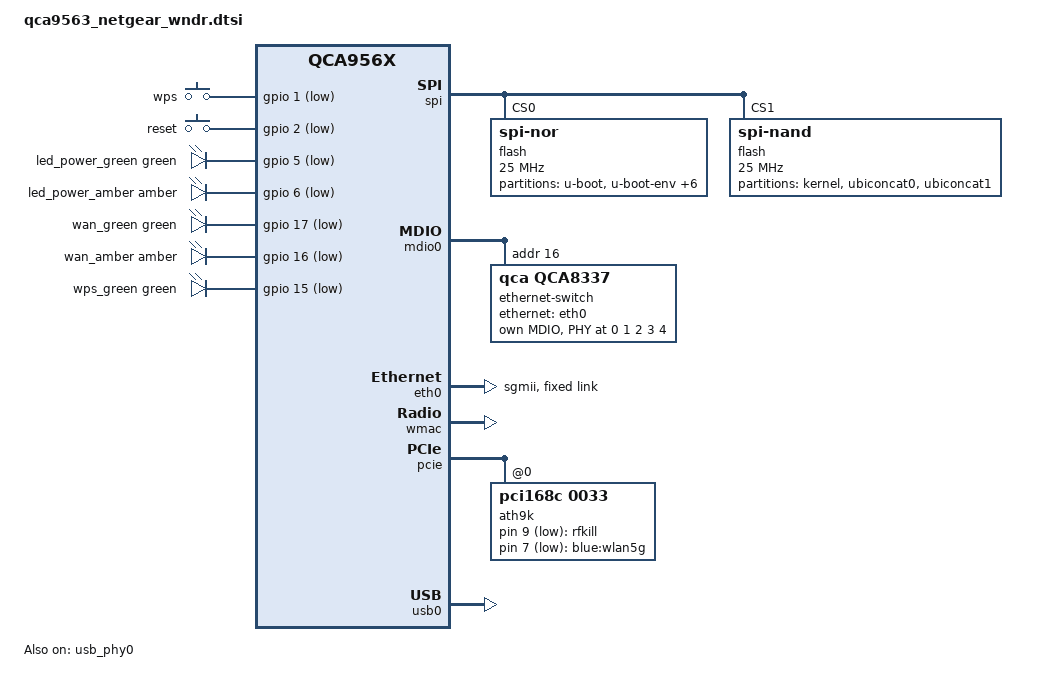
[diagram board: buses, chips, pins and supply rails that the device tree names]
// SPDX-License-Identifier: GPL-2.0-or-later OR MIT

#include "qca956x.dtsi"
#include "qca956x_ag71xx.dtsi"

#include <dt-bindings/gpio/gpio.h>
#include <dt-bindings/input/input.h>
#include <dt-bindings/leds/common.h>

/ {
	aliases {
		led-boot = &led_power_amber;
		led-failsafe = &led_power_amber;
		led-running = &led_power_green;
		led-upgrade = &led_power_amber;
		label-mac-device = &eth0;
	};

	keys {
		compatible = "gpio-keys";

		wps {
			label = "wps";
			linux,code = <KEY_WPS_BUTTON>;
			gpios = <&gpio 1 GPIO_ACTIVE_LOW>;
		};

		reset {
			label = "reset";
			linux,code = <KEY_RESTART>;
			gpios = <&gpio 2 GPIO_ACTIVE_LOW>;
		};
	};

	ath9k-keys {
		compatible = "gpio-keys-polled";
		poll-interval = <20>;

		rfkill {
			label = "rfkill";
			linux,code = <KEY_RFKILL>;
			gpios = <&ath9k 9 GPIO_ACTIVE_LOW>;
			debounce-interval = <60>;
		};
	};

	leds: leds {
		compatible = "gpio-leds";

		pinctrl-names = "default";
		pinctrl-0 = <&jtag_disable_pins>;

		led_power_green: power_green {
			function = LED_FUNCTION_POWER;
			color = <LED_COLOR_ID_GREEN>;
			gpios = <&gpio 5 GPIO_ACTIVE_LOW>;
		};

		led_power_amber: power_amber {
			function = LED_FUNCTION_POWER;
			color = <LED_COLOR_ID_AMBER>;
			gpios = <&gpio 6 GPIO_ACTIVE_LOW>;
			default-state = "keep";
		};

		wan_green {
			function = LED_FUNCTION_WAN;
			color = <LED_COLOR_ID_GREEN>;
			gpios = <&gpio 17 GPIO_ACTIVE_LOW>;
		};

		wan_amber {
			function = LED_FUNCTION_WAN;
			color = <LED_COLOR_ID_AMBER>;
			gpios = <&gpio 16 GPIO_ACTIVE_LOW>;
		};

		wps_green {
			function = LED_FUNCTION_WPS;
			color = <LED_COLOR_ID_GREEN>;
			gpios = <&gpio 15 GPIO_ACTIVE_LOW>;
		};
	};

	ath9k-leds {
		compatible = "gpio-leds";

		wlan5g_blue {
			label = "blue:wlan5g";
			gpios = <&ath9k 7 GPIO_ACTIVE_LOW>;
			linux,default-trigger = "phy1tpt";
		};
	};

	ubi-concat {
		compatible = "mtd-concat";
		devices = <&ubiconcat0 &ubiconcat1>;

		partitions {
			compatible = "fixed-partitions";
			#address-cells = <1>;
			#size-cells = <1>;

			partition@0 {
				label = "ubi";
				reg = <0x0 0x0>;
			};
		};
	};
};

&spi {
	status = "okay";

	flash@0 {
		compatible = "jedec,spi-nor";
		reg = <0>;
		spi-max-frequency = <25000000>;

		partitions {
			compatible = "fixed-partitions";
			#address-cells = <1>;
			#size-cells = <1>;

			partition@0 {
				label = "u-boot";
				reg = <0x0 0x40000>;
				read-only;
			};

			partition@40000 {
				label = "u-boot-env";
				reg = <0x40000 0x10000>;
			};

			partition@50000 {
				label = "caldata_backup";
				reg = <0x50000 0x10000>;
				read-only;
			};

			partition@60000 {
				label = "config";
				reg = <0x60000 0x10000>;
			};

			partition@70000 {
				label = "traffic_meter";
				reg = <0x70000 0x10000>;
			};

			partition@80000 {
				label = "pot";
				reg = <0x80000 0x10000>;
			};

			partition@90000 {
				label = "reserved";
				reg = <0x90000 0x160000>;
			};

			caldata: partition@1f0000 {
				label = "caldata";
				reg = <0x1f0000 0x10000>;
				read-only;

				nvmem-layout {
					compatible = "fixed-layout";
					#address-cells = <1>;
					#size-cells = <1>;

					macaddr_caldata_0: macaddr@0 {
						reg = <0x0 0x6>;
					};

					macaddr_caldata_c: macaddr@c {
						reg = <0xc 0x6>;
					};

					cal_art_1000: cal@1000 {
						reg = <0x1000 0x440>;
					};

					cal_art_5000: cal@5000 {
						reg = <0x5000 0x440>;
					};
				};
			};
		};
	};

	flash@1 {
		compatible = "spi-nand";
		reg = <1>;
		spi-max-frequency = <25000000>;

		partitions {
			compatible = "fixed-partitions";
			#address-cells = <1>;
			#size-cells = <1>;

			partition@0 {
				label = "kernel";
				reg = <0x0 0x400000>;
			};

			ubiconcat0: partition@400000 {
				label = "ubiconcat0";
				reg = <0x400000 0x5c00000>;
			};

			ubiconcat1: partition@6020000 {
				label = "ubiconcat1";
				reg = <0x6020000 0x1f60000>;
			};
			/*
			 * U-boot always unconditionally marks block 768, 1020 - 1023 as
			 * bad blocks on each boot. To avoid conflicts with the nand
			 * driver, manually skip them.
			 */
		};
	};
};

&mdio0 {
	status = "okay";

	ethernet-switch@10 {
		compatible = "qca,qca8337";
		#address-cells = <1>;
		#size-cells = <0>;
		reg = <0x10>;
		qca,ignore-power-on-sel;
		qca,led-open-drain;

		ethernet-ports {
			#address-cells = <1>;
			#size-cells = <0>;

			ethernet-port@0 {
				reg = <0>;
				ethernet = <&eth0>;
				phy-mode = "sgmii";

				fixed-link {
					speed = <1000>;
					full-duplex;
				};
			};

			switch_port1: ethernet-port@1 {
				reg = <1>;
				label = "lan4";
				phy-mode = "internal";
				phy-handle = <&phy_port1>;
			};

			switch_port2: ethernet-port@2 {
				reg = <2>;
				label = "lan3";
				phy-mode = "internal";
				phy-handle = <&phy_port2>;
			};

			switch_port3: ethernet-port@3 {
				reg = <3>;
				label = "lan2";
				phy-mode = "internal";
				phy-handle = <&phy_port3>;
			};

			switch_port4: ethernet-port@4 {
				reg = <4>;
				label = "lan1";
				phy-mode = "internal";
				phy-handle = <&phy_port4>;
			};

			switch_port5: ethernet-port@5 {
				reg = <5>;
				label = "wan";
				phy-mode = "internal";
				phy-handle = <&phy_port5>;
			};
		};

		mdio {
			#address-cells = <1>;
			#size-cells = <0>;

			phy_port1: ethernet-phy@0 {
				reg = <0>;
			};

			phy_port2: ethernet-phy@1 {
				reg = <1>;
			};

			phy_port3: ethernet-phy@2 {
				reg = <2>;
			};

			phy_port4: ethernet-phy@3 {
				reg = <3>;
			};

			phy_port5: ethernet-phy@4 {
				reg = <4>;
			};
		};
	};
};

&eth0 {
	status = "okay";

	pll-data = <0x03000101 0x00000101 0x00001919>;

	nvmem-cells = <&macaddr_caldata_0>;
	nvmem-cell-names = "mac-address";

	phy-mode = "sgmii";

	fixed-link {
		speed = <1000>;
		full-duplex;
	};
};

&wmac {
	status = "okay";

	nvmem-cells = <&macaddr_caldata_0>, <&cal_art_1000>;
	nvmem-cell-names = "mac-address", "calibration";

	led {
		led-sources = <19>;
		led-active-low;
	};
};

&pcie {
	status = "okay";

	ath9k: wifi@0,0 {
		/* chip is AR9580, override bogus PCI ID 168c:abcd */
		compatible = "pci168c,0033";
		reg = <0x0000 0 0 0 0>;
		nvmem-cells = <&macaddr_caldata_c>, <&cal_art_5000>;
		nvmem-cell-names = "mac-address", "calibration";
		qca,gpio-mask=<0xf6ff>;	/* unmask pin 9 for RFKILL button */
		#gpio-cells = <2>;
		gpio-controller;
	};
};

&usb_phy0 {
	status = "okay";
};

&usb0 {
	status = "okay";
};
